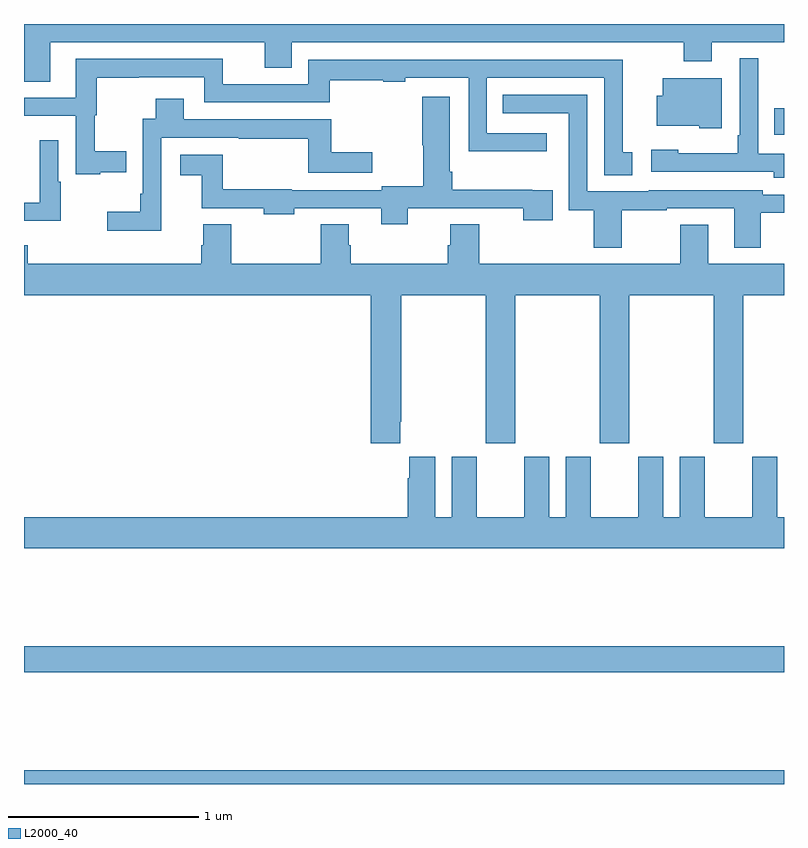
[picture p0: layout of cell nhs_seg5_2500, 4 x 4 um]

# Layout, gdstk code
import gdstk
lib = gdstk.Library(unit=1e-6, precision=1e-09)
def R(c, l, rs):  # rectangles x0, y0, x1, y1
    for r in rs: c.add(gdstk.rectangle(r[:2], r[2:], *l))
def P(c, l, *ps):  # polygons
    for p in ps: c.add(gdstk.Polygon(p, *l))
L2000_40 = (2000, 40)

nhs_seg5_2500 = lib.new_cell('nhs_seg5_2500')
R(nhs_seg5_2500, L2000_40, [(255,908.799,259,908.872), (255,909.388,259,909.524), (258.949,912.215,259,912.355)])
P(nhs_seg5_2500, L2000_40, [(255.139,912.704),(256.268,912.704),(256.268,912.568),(256.408,912.568),(256.408,912.704),(258.472,912.704),(258.472,912.602),(258.619,912.602),(258.619,912.704),(259,912.704),(259,912.799),(255,912.799),(255,912.496),(255.139,912.496)],
  [(259,912.117),(258.864,912.117),(258.864,912.619),(258.768,912.619),(258.768,912.214),(258.756,912.214),(258.756,912.118),(258.444,912.118),(258.444,912.136),(258.3,912.136),(258.3,912.021),(258.947,912.021),(258.947,911.99),(259,911.99)],
  [(258.202,912.123),(258.151,912.123),(258.151,912.612),(256.497,912.612),(256.497,912.483),(256.047,912.483),(256.047,912.615),(255.272,912.615),(255.272,912.411),(255,912.411),(255,912.315),(255.273,912.315),(255.273,912.009),(255.401,912.009),(255.401,912.02),(255.538,912.02),(255.538,912.13),(255.372,912.13),(255.372,912.318),(255.382,912.318),(255.382,912.517),(255.605,912.517),(255.605,912.519),(255.948,912.519),(255.948,912.387),(256.609,912.387),(256.609,912.504),(256.89,912.504),(256.89,912.496),(257.006,912.496),(257.006,912.516),(257.34,912.516),(257.34,912.128),(257.752,912.128),(257.752,912.225),(257.436,912.225),(257.436,912.516),(258.054,912.516),(258.054,912.004),(258.202,912.004)],
  [(258.673,912.514),(258.362,912.514),(258.362,912.421),(258.329,912.421),(258.329,912.263),(258.555,912.263),(258.555,912.251),(258.673,912.251)],
  [(258.877,911.805),(259,911.805),(259,911.901),(258.888,911.901),(258.888,911.925),(258.288,911.925),(258.288,911.919),(257.964,911.919),(257.964,912.426),(257.521,912.426),(257.521,912.33),(257.868,912.33),(257.868,911.818),(257.999,911.818),(257.999,911.622),(258.147,911.622),(258.147,911.818),(258.384,911.818),(258.384,911.829),(258.737,911.829),(258.737,911.621),(258.877,911.621)],
  [(257.02,911.829),(257.627,911.829),(257.627,911.766),(257.783,911.766),(257.783,911.925),(257.675,911.925),(257.675,911.927),(257.255,911.927),(257.255,912.022),(257.242,912.022),(257.242,912.415),(257.095,912.415),(257.095,912.162),(257.102,912.162),(257.102,911.945),(256.884,911.945),(256.884,911.925),(256.41,911.925),(256.41,911.93),(256.045,911.93),(256.045,912.112),(255.822,912.112),(255.822,912.002),(255.935,912.002),(255.935,911.829),(256.262,911.829),(256.262,911.798),(256.422,911.798),(256.422,911.829),(256.88,911.829),(256.88,911.744),(257.02,911.744)],
  [(255.722,912.201),(256.129,912.201),(256.129,912.196),(256.497,912.196),(256.497,912.015),(256.834,912.015),(256.834,912.124),(256.618,912.124),(256.618,912.297),(255.841,912.297),(255.841,912.406),(255.694,912.406),(255.694,912.3),(255.624,912.3),(255.624,911.905),(255.612,911.905),(255.612,911.81),(255.438,911.81),(255.438,911.711),(255.722,911.711)],
  [(255.193,911.97),(255.18,911.97),(255.18,912.187),(255.084,912.187),(255.084,911.859),(255,911.859),(255,911.763),(255.193,911.763)],
  [(256.981,910.705),(256.986,910.705),(256.986,911.372),(257.431,911.372),(257.431,910.593),(257.586,910.593),(257.586,911.372),(258.031,911.372),(258.031,910.593),(258.186,910.593),(258.186,911.372),(258.631,911.372),(258.631,910.593),(258.786,910.593),(258.786,911.372),(259,911.372),(259,911.536),(258.601,911.536),(258.601,911.743),(258.454,911.743),(258.454,911.536),(257.396,911.536),(257.396,911.744),(257.243,911.744),(257.243,911.634),(257.231,911.634),(257.231,911.536),(256.721,911.536),(256.721,911.634),(256.708,911.634),(256.708,911.744),(256.561,911.744),(256.561,911.536),(256.092,911.536),(256.092,911.744),(255.944,911.744),(255.944,911.634),(255.932,911.634),(255.932,911.536),(255.02,911.536),(255.02,911.635),(255,911.635),(255,911.372),(256.826,911.372),(256.826,910.593),(256.981,910.593)],
  [(259,910.204),(258.964,910.204),(258.964,910.522),(258.833,910.522),(258.833,910.204),(258.583,910.204),(258.583,910.522),(258.452,910.522),(258.452,910.204),(258.364,910.204),(258.364,910.522),(258.233,910.522),(258.233,910.204),(257.983,910.204),(257.983,910.522),(257.852,910.522),(257.852,910.204),(257.764,910.204),(257.764,910.522),(257.633,910.522),(257.633,910.204),(257.383,910.204),(257.383,910.522),(257.252,910.522),(257.252,910.204),(257.164,910.204),(257.164,910.522),(257.027,910.522),(257.027,910.409),(257.021,910.409),(257.021,910.204),(255,910.204),(255,910.04),(259,910.04)])

lib.write_gds('nhs_seg5_2500.gds')
